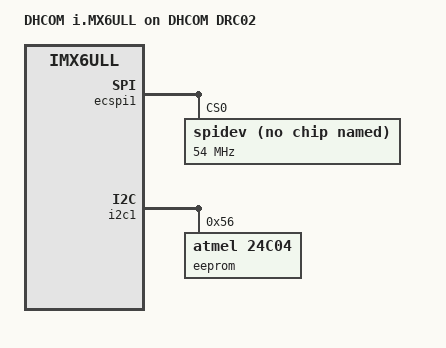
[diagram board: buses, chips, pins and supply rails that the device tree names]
// SPDX-License-Identifier: (GPL-2.0-or-later)
/*
 * Copyright (C) 2018 DH electronics GmbH
 */

/dts-v1/;

#include "imx6ull-dh-com-v1.dtsi"
/* Special configurations */
//#include "imx6ull-dh-com-cfg-emmc.dtsi"
//#include "imx6ull-dh-com-cfg-sdcard.dtsi"
//#include "imx6ull-dh-com-cfg-bootflash.dtsi"

/ {
	model = "DHCOM i.MX6ULL on DHCOM DRC02";
	compatible = "dh,imx6ull-dh-drc02", "fsl,imx6ull";
};

#ifndef CFG_BOOTFLASH
&ecspi1 { /* DHCOM SPI1 */
	spidev@0 { /* For now rohm,dh2228fv is as dummy device to avoid kernel backtrace */
		compatible = "rohm,dh2228fv";
		reg = <0>;
		spi-max-frequency = <54000000>;
		spi-cpha; /* Shifted clock phase (CPHA) mode */
		spi-cpol; /* Inverse clock polarity (CPOL) mode */
	};
};
#endif

&i2c1 { /* DHCOM I2C2 */
	eeprom@56 { /* Atmel AT24HC04B, addresses 0x56 and 0x57 */
		compatible = "atmel,24c04";
		reg = <0x56>;
		pagesize = <16>;
	};
};

&i2c2 { /* DHCOM I2C1 */
};

&iomuxc {
	pinctrl-names = "default";
	pinctrl-0 = <&pinctrl_hog_drc02>;

	pinctrl_hog_drc02: hog-drc02-grp {
		fsl,pins = <
			MX6UL_PAD_UART1_CTS_B__GPIO1_IO18	0x400120b0 /* GPIO I -> Prepared for UART1 RTS */
			MX6UL_PAD_CSI_HSYNC__GPIO4_IO20		0x400120b0 /* GPIO J -> Code_HW_2 */
			MX6UL_PAD_CSI_PIXCLK__GPIO4_IO18	0x400120b0 /* GPIO K -> Code_HW_1 */
			MX6UL_PAD_CSI_MCLK__GPIO4_IO17		0x400120b0 /* GPIO L -> Code_HW_0 */
			MX6UL_PAD_CSI_VSYNC__GPIO4_IO19		0x400120b0 /* GPIO M -> Prepared for UART1 CTS */
#ifndef CFG_BOOTFLASH
			MX6UL_PAD_CSI_DATA07__GPIO4_IO28	0x400120b0 /* GPIO N -> Extension connector (XLON U10R2, MBUS, ...) */
			MX6UL_PAD_CSI_DATA06__GPIO4_IO27	0x400120b0 /* GPIO O -> Extension connector (XLON U10R2, MBUS, ...) */
			MX6UL_PAD_CSI_DATA05__GPIO4_IO26	0x400120b0 /* GPIO P -> Prepared for rs485 rts */
			MX6UL_PAD_CSI_DATA04__GPIO4_IO25	0x400120b0 /* GPIO Q -> Prepared for rs485 rxen */
#endif
			MX6UL_PAD_CSI_DATA03__GPIO4_IO24	0x400120b0 /* GPIO R -> Not connected */
			MX6UL_PAD_CSI_DATA02__GPIO4_IO23	0x400120b0 /* GPIO S -> Not connected */
			MX6UL_PAD_CSI_DATA01__GPIO4_IO22	0x400120b0 /* GPIO T -> Not connected */
			MX6UL_PAD_CSI_DATA00__GPIO4_IO21	0x400120b0 /* GPIO U -> Not connected */
			/* There isn't a pin defined                          GPIO V -> Not connected */
			/* There isn't a pin defined                          GPIO W -> Not connected */
			MX6UL_PAD_JTAG_TMS__GPIO1_IO11		0x400120b0 /* INT_HIGHEST_PRIORITY -> IN 2 */
		>;
	};
};

&iomuxc_snvs {
	pinctrl-names = "default";
	pinctrl-0 = <&pinctrl_snvs_hog_drc02>;

	pinctrl_snvs_hog_drc02: snvs-hog-drc02-grp {
		fsl,pins = <
			MX6ULL_PAD_SNVS_TAMPER0__GPIO5_IO00	0x400120b0 /* GPIO A -> Display connector */
			MX6ULL_PAD_SNVS_TAMPER1__GPIO5_IO01	0x400120b0 /* GPIO B -> Display connector */
			MX6ULL_PAD_SNVS_TAMPER2__GPIO5_IO02	0x400120b0 /* GPIO C -> Display connector */
			MX6ULL_PAD_SNVS_TAMPER3__GPIO5_IO03	0x400120b0 /* GPIO D -> OUT 2*/
			MX6ULL_PAD_SNVS_TAMPER4__GPIO5_IO04	0x400120b0 /* GPIO E -> Display connector */
			MX6ULL_PAD_SNVS_TAMPER7__GPIO5_IO07	0x400120b0 /* GPIO F -> OUT 1 */
			MX6ULL_PAD_SNVS_TAMPER8__GPIO5_IO08	0x400120b0 /* GPIO G -> IN 1 */
			MX6ULL_PAD_SNVS_TAMPER9__GPIO5_IO09	0x400120b0 /* GPIO H -> Reset USB hub */
		>;
	};
};
